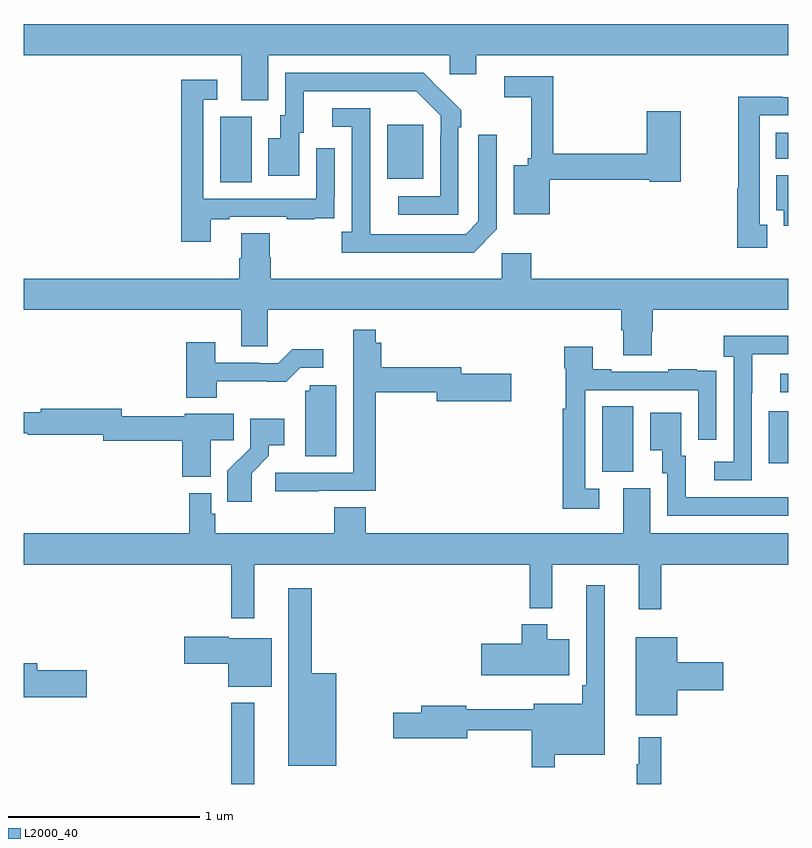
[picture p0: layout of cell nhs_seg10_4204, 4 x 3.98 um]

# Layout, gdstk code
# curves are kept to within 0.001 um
import gdstk
lib = gdstk.Library(unit=1e-6, precision=1e-09)
def R(c, l, rs):  # rectangles x0, y0, x1, y1
    for r in rs: c.add(gdstk.rectangle(r[:2], r[2:], *l))
def P(c, l, *ps):  # polygons
    for p in ps: c.add(gdstk.Polygon(p, *l))
L2000_40 = (2000, 40)

nhs_seg10_4204 = lib.new_cell('nhs_seg10_4204')
R(nhs_seg10_4204, L2000_40, [(346.086,1300.5,346.207,1300.924), (348.026,1302.133,348.19,1302.476), (348.899,1302.177,349,1302.451), (348.957,1302.549,349,1302.645), (346.028,1303.648,346.192,1303.992), (346.901,1303.667,347.089,1303.948), (348.935,1303.772,349,1303.906)])
P(nhs_seg10_4204, L2000_40, [(346.279,1304.312),(347.229,1304.312),(347.229,1304.214),(347.368,1304.214),(347.368,1304.312),(349,1304.312),(349,1304.476),(345,1304.476),(345,1304.312),(346.139,1304.312),(346.139,1304.077),(346.279,1304.077)],
  [(347.274,1303.937),(347.289,1303.937),(347.289,1304.025),(347.092,1304.22),(346.368,1304.22),(346.368,1303.998),(346.343,1303.998),(346.343,1303.879),(346.28,1303.879),(346.28,1303.683),(346.441,1303.683),(346.441,1303.908),(346.465,1303.908),(346.465,1304.124),(347.053,1304.124),(347.181,1303.995),(347.181,1303.895),(347.178,1303.895),(347.178,1303.575),(346.959,1303.575),(346.959,1303.479),(347.274,1303.479)],
  [(347.752,1303.66),(348.276,1303.66),(348.276,1303.652),(348.438,1303.652),(348.438,1304.02),(348.26,1304.02),(348.26,1303.796),(347.771,1303.796),(347.771,1304.202),(347.514,1304.202),(347.514,1304.094),(347.654,1304.094),(347.654,1303.773),(347.636,1303.773),(347.636,1303.738),(347.564,1303.738),(347.564,1303.481),(347.752,1303.481)],
  [(345.979,1303.455),(346.075,1303.455),(346.075,1303.467),(346.375,1303.467),(346.375,1303.455),(346.523,1303.455),(346.523,1303.461),(346.625,1303.461),(346.625,1303.57),(346.626,1303.57),(346.626,1303.825),(346.53,1303.825),(346.53,1303.563),(345.939,1303.563),(345.939,1304.079),(346.012,1304.079),(346.012,1304.185),(345.823,1304.185),(345.823,1303.338),(345.979,1303.338)],
  [(348.889,1303.425),(348.85,1303.425),(348.85,1303.998),(349,1303.998),(349,1304.094),(348.972,1304.094),(348.972,1304.096),(348.739,1304.096),(348.739,1303.617),(348.732,1303.617),(348.732,1303.305),(348.889,1303.305)],
  [(347.475,1303.401),(347.475,1303.897),(347.379,1303.897),(347.379,1303.443),(347.313,1303.377),(346.812,1303.377),(346.812,1304.034),(346.614,1304.034),(346.614,1303.938),(346.716,1303.938),(346.716,1303.39),(346.665,1303.39),(346.665,1303.28),(347.354,1303.28)],
  [(349,1303.684),(348.938,1303.684),(348.938,1303.502),(348.977,1303.502),(348.977,1303.421),(349,1303.421)],
  [(348.285,1302.867),(348.29,1302.867),(348.29,1302.98),(349,1302.98),(349,1303.144),(347.654,1303.144),(347.654,1303.276),(347.502,1303.276),(347.502,1303.144),(346.292,1303.144),(346.292,1303.257),(346.287,1303.257),(346.287,1303.382),(346.139,1303.382),(346.139,1303.25),(346.127,1303.25),(346.127,1303.144),(345,1303.144),(345,1302.98),(346.139,1302.98),(346.139,1302.79),(346.278,1302.79),(346.278,1302.98),(348.125,1302.98),(348.125,1302.874),(348.137,1302.874),(348.137,1302.742),(348.285,1302.742)],
  [(346.541,1302.033),(346.841,1302.033),(346.841,1302.55),(347.162,1302.55),(347.162,1302.503),(347.551,1302.503),(347.551,1302.645),(347.29,1302.645),(347.29,1302.679),(346.871,1302.679),(346.871,1302.808),(346.841,1302.808),(346.841,1302.877),(346.725,1302.877),(346.725,1302.129),(346.317,1302.129),(346.317,1302.031),(346.541,1302.031)],
  [(348.81,1302.547),(348.811,1302.547),(348.811,1302.747),(349,1302.747),(349,1302.844),(348.663,1302.844),(348.663,1302.734),(348.714,1302.734),(348.714,1302.186),(348.612,1302.186),(348.612,1302.09),(348.81,1302.09)],
  [(346.011,1302.606),(346.373,1302.605),(346.446,1302.678),(346.567,1302.678),(346.567,1302.775),(346.405,1302.775),(346.332,1302.702),(346.232,1302.702),(346.232,1302.705),(346.003,1302.705),(346.003,1302.811),(345.851,1302.811),(345.851,1302.521),(346.011,1302.521)],
  [(348.01,1302.045),(347.937,1302.045),(347.937,1302.561),(348.528,1302.561),(348.528,1302.3),(348.624,1302.3),(348.624,1302.554),(348.623,1302.554),(348.623,1302.663),(348.521,1302.663),(348.521,1302.67),(348.373,1302.67),(348.373,1302.657),(348.073,1302.657),(348.073,1302.67),(347.977,1302.67),(347.977,1302.787),(347.828,1302.787),(347.828,1302.674),(347.836,1302.674),(347.836,1302.464),(347.821,1302.464),(347.821,1301.94),(348.01,1301.94)],
  [(346.636,1302.585),(346.497,1302.585),(346.497,1302.558),(346.472,1302.558),(346.472,1302.214),(346.636,1302.214)],
  [(345.979,1302.298),(346.1,1302.298),(346.1,1302.436),(345.842,1302.436),(345.842,1302.425),(345.513,1302.425),(345.513,1302.464),(345.088,1302.464),(345.088,1302.445),(345,1302.445),(345,1302.336),(345.02,1302.336),(345.02,1302.328),(345.417,1302.328),(345.417,1302.297),(345.83,1302.297),(345.83,1302.107),(345.979,1302.107)],
  [(349,1302.001),(348.947,1302.001),(348.947,1302),(348.463,1302),(348.463,1302.216),(348.439,1302.216),(348.439,1302.442),(348.278,1302.442),(348.278,1302.245),(348.341,1302.245),(348.341,1302.126),(348.366,1302.126),(348.366,1301.904),(349,1301.904)],
  [(346.192,1302.127),(346.282,1302.217),(346.282,1302.272),(346.363,1302.272),(346.363,1302.412),(346.185,1302.412),(346.185,1302.257),(346.066,1302.138),(346.066,1301.976),(346.192,1301.976)],
  [(346.207,1301.648),(347.647,1301.648),(347.647,1301.42),(347.765,1301.42),(347.765,1301.648),(348.218,1301.648),(348.218,1301.415),(348.335,1301.415),(348.335,1301.648),(349,1301.648),(349,1301.812),(348.277,1301.812),(348.277,1302.048),(348.137,1302.048),(348.137,1301.812),(346.79,1301.812),(346.79,1301.948),(346.625,1301.948),(346.625,1301.812),(346.001,1301.812),(346.001,1301.913),(345.981,1301.913),(345.981,1302.022),(345.865,1302.022),(345.865,1301.812),(345,1301.812),(345,1301.648),(346.086,1301.648),(346.086,1301.367),(346.207,1301.367)],
  [(347.779,1300.652),(348.04,1300.652),(348.04,1301.539),(347.943,1301.539),(347.943,1301.017),(347.923,1301.017),(347.923,1300.921),(347.669,1300.921),(347.669,1300.891),(347.316,1300.891),(347.316,1300.91),(347.081,1300.91),(347.081,1300.874),(346.932,1300.874),(346.932,1300.739),(347.32,1300.739),(347.32,1300.782),(347.658,1300.782),(347.658,1300.587),(347.779,1300.587)],
  [(346.636,1301.08),(346.507,1301.08),(346.507,1301.524),(346.385,1301.524),(346.385,1300.595),(346.636,1300.595)],
  [(347.854,1301.257),(347.74,1301.257),(347.74,1301.335),(347.606,1301.335),(347.606,1301.235),(347.394,1301.235),(347.394,1301.069),(347.854,1301.069)],
  [(346.297,1301.263),(346.074,1301.263),(346.074,1301.271),(345.84,1301.271),(345.84,1301.129),(346.07,1301.129),(346.07,1301.009),(346.297,1301.009)],
  [(348.418,1300.991),(348.661,1300.991),(348.661,1301.138),(348.418,1301.138),(348.418,1301.269),(348.203,1301.269),(348.203,1300.859),(348.418,1300.859)],
  [(345.331,1301.096),(345.07,1301.096),(345.07,1301.132),(345,1301.132),(345,1300.954),(345.331,1300.954)],
  [(348.335,1300.744),(348.218,1300.744),(348.218,1300.604),(348.207,1300.604),(348.207,1300.5),(348.335,1300.5)])

lib.write_gds('nhs_seg10_4204.gds')
